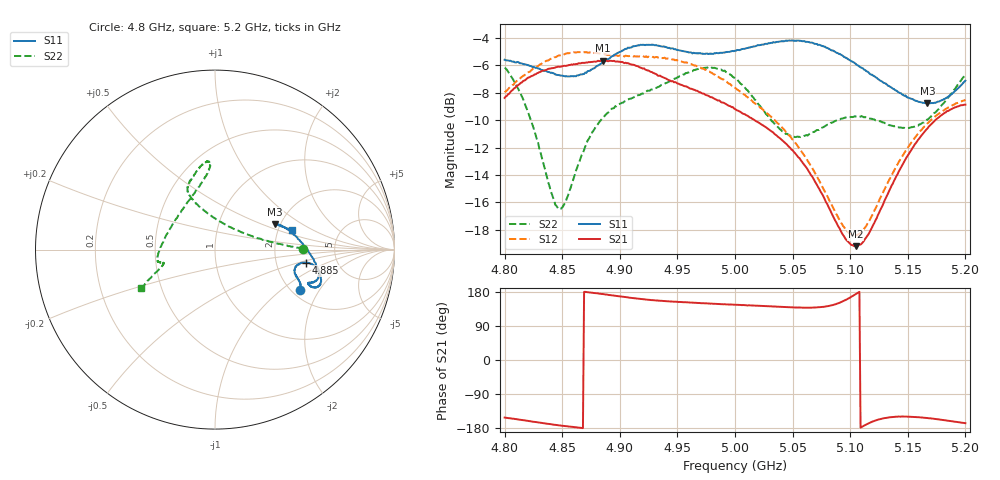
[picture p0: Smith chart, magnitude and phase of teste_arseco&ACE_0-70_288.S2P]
! Network Analyzer HP8722D
! Hewlett-Packard
! Data name: Linha & Wilkinson
! Saver's name: Rodrigo Anjos
! Comments: Teste da utilização de aquisição
! continua pelo VNA HP8722D
! Time and date: 8/5/2025 15:09
!  Frequency  S11  S21  S12  S22
# HZ  S  MA R 50
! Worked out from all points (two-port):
!   401 points, 4.8 GHz to 5.2 GHz, reference 50 ohm
!   highest |S21| = -5.64 dB at 4.885 GHz (marker M1); lowest = -19.2 dB at 5.105 GHz (marker M2)
!   |S21| within 3 dB of the highest: start of sweep to 4.987 GHz
!   lowest |S11| = -8.8 dB at 5.167 GHz (marker M3), VSWR 2.15, Z = 93.7 + j30.9 ohm
!   |S11| at or under -10 dB: nowhere
!   |S22| runs from -16.5 to -6.1 dB; largest |S21 - S12| = 1.1
!   S11 on the Smith chart (normalised r, x): 4.8 GHz: 2.23, -1.38; 4.885 GHz: 2.97, -0.59; 5.2 GHz: 2.36, +0.65
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4.8e9  0.5257 -25.1  0.3815 -152.0  0.4003 7.2  0.4917 0.6
4.818e9  0.5057 -21.1  0.4431 -159.7  0.4651 4.6  0.3587 5.1
4.842e9  0.4696 -17.3  0.4901 -170.5  0.5309 1.1  0.1653 40.6
4.846e9  0.4626 -16.2  0.4953 -171.9  0.5425 0.0  0.1517 55.2
4.853e9  0.4571 -14.7  0.499 -174.5  0.5535 -1.1  0.1593 80.8
4.867e9  0.4649 -10.7  0.5119 -179.4  0.5594 -3.2  0.2366 107.5
4.885e9  0.5127 -8.2  0.5224 174.2  0.5525 -4.2  0.3219 114.8
4.909e9  0.5828 -11.0  0.5067 164.2  0.5435 -3.5  0.379 114.0
4.934e9  0.5914 -16.9  0.4592 156.6  0.537 -4.2  0.4193 107.2
4.976e9  0.554 -19.8  0.3896 149.4  0.4792 -7.6  0.4917 95.4
5e9  0.5674 -20.9  0.3475 145.8  0.4151 -7.4  0.4504 94.3
5.018e9  0.5895 -20.7  0.3141 143.5  0.3627 -4.8  0.3741 102.4
5.042e9  0.6138 -19.0  0.2648 140.1  0.2937 0.5  0.2872 129.5
5.067e9  0.607 -14.1  0.1972 138.3  0.2119 8.5  0.2856 165.1
5.094e9  0.5418 -4.2  0.1203 155.3  0.1298 34.9  0.3215 -173.3
5.105e9  0.5069 0.9  0.1098 174.0  0.1202 56.5  0.3262 -169.8
5.116e9  0.4724 6.6  0.1216 -167.1  0.1348 76.7  0.3213 -167.6
5.134e9  0.421 15.4  0.1754 -151.3  0.1922 94.2  0.3034 -166.5
5.15e9  0.3827 21.3  0.235 -149.5  0.2513 98.7  0.2961 -164.6
5.167e9  0.3642 23.1  0.2949 -153.2  0.3078 99.4  0.3183 -161.8
5.183e9  0.3804 20.6  0.338 -159.5  0.3477 99.4  0.3736 -157.5
5.2e9  0.441 14.6  0.3605 -166.7  0.3756 100.0  0.4647 -152.4
